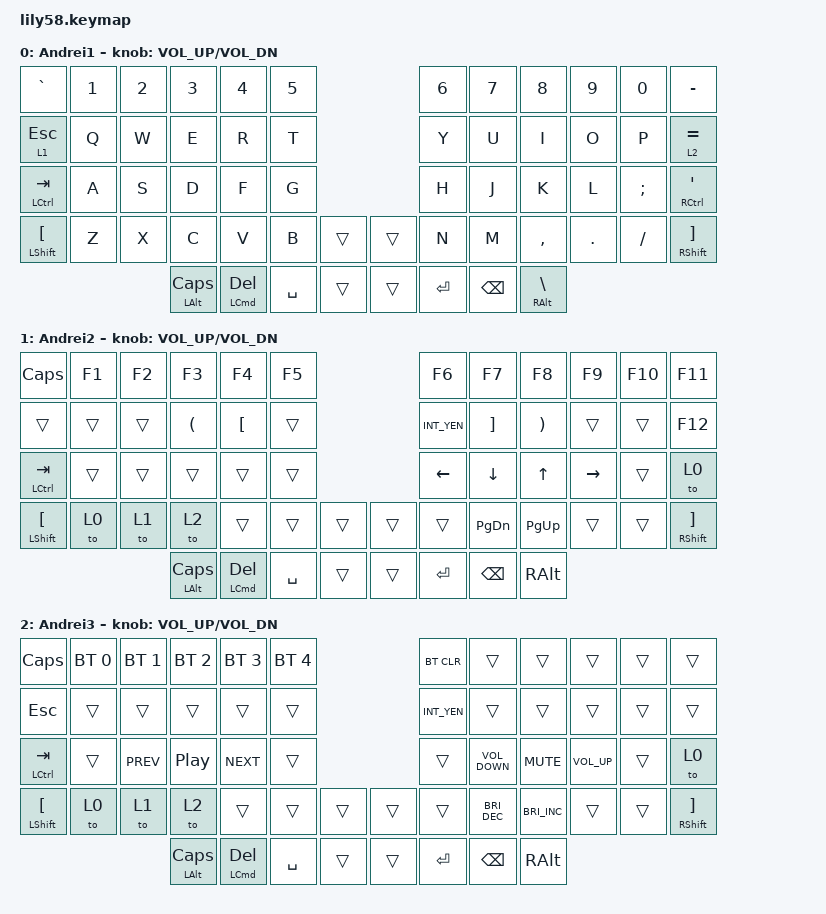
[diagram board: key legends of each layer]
/*
 * Copyright (c) 2020 The ZMK Contributors
 *
 * SPDX-License-Identifier: MIT
 */

#include <behaviors.dtsi>
#include <dt-bindings/zmk/bt.h>
#include <dt-bindings/zmk/keys.h>

/ {
    keymap {
        compatible = "zmk,keymap";

        Andrei1 {
            // ------------------------------------------------------------------------------------------------------------
            // |  ESC  |  1  |  2  |  3   |  4   |  5   |                   |  6   |  7    |  8    |  9   |   0   |   `   |
            // |  TAB  |  Q  |  W  |  E   |  R   |  T   |                   |  Y   |  U    |  I    |  O   |   P   |   -   |
            // |  CTRL |  A  |  S  |  D   |  F   |  G   |                   |  H   |  J    |  K    |  L   |   ;   |   '   |
            // | SHIFT |  Z  |  X  |  C   |  V   |  B   |   "["  |  |  "]"  |  N   |  M    |  ,    |  .   |   /   | SHIFT |
            //                     | ALT  | GUI  | LOWER|  SPACE |  | ENTER | RAISE| BSPC  | GUI   |

            bindings = <
&kp GRAVE                    &kp N1  &kp N2  &kp N3                 &kp N4                   &kp N5                       &kp N6     &kp N7         &kp N8                   &kp N9   &kp N0    &kp MINUS
&lt 1 ESCAPE                 &kp Q   &kp W   &kp E                  &kp R                    &kp T                        &kp Y      &kp U          &kp I                    &kp O    &kp P     &lt 2 EQUAL
&mt LCTRL TAB                &kp A   &kp S   &kp D                  &kp F                    &kp G                        &kp H      &kp J          &kp K                    &kp L    &kp SEMI  &mt RCTRL SQT
&mt LEFT_SHIFT LEFT_BRACKET  &kp Z   &kp X   &kp C                  &kp V                    &kp B      &trans    &trans  &kp N      &kp M          &kp COMMA                &kp DOT  &kp FSLH  &mt RSHIFT RIGHT_BRACKET
                                             &mt LEFT_ALT CAPSLOCK  &mt LEFT_COMMAND DELETE  &kp SPACE  &trans    &trans  &kp ENTER  &kp BACKSPACE  &mt RIGHT_ALT BACKSLASH
            >;

            sensor-bindings = <&inc_dec_kp C_VOL_UP C_VOL_DN>;
        };

        Andrei2 {
            // ------------------------------------------------------------------------------------------------------------
            // | BTCLR | BT1 | BT2 |  BT3 |  BT4 |  BT5 |                   |      |       |       |      |       |       |
            // |  F1   |  F2 |  F3 |  F4  |  F5  |  F6  |                   |  F7  |  F8   |  F9   |  F10 |  F11  |  F12  |
            // |   `   |  !  |  @  |  #   |  $   |  %   |                   |  ^   |  &    |  *    |  (   |   )   |   ~   |
            // |       |     |     |      |      |      |        |  |       |      |  _    |  +    |  {   |   }   |  "|"  |
            //                     |      |      |      |        |  |       |      |       |       |

            bindings = <
&kp CLCK                     &kp F1  &kp F2  &kp F3                 &kp F4                   &kp F5                       &kp F6       &kp F7             &kp F8                 &kp F9     &kp F10  &kp F11
&trans                       &trans  &trans  &kp LEFT_PARENTHESIS   &kp LEFT_BRACKET         &trans                       &kp INT_YEN  &kp RIGHT_BRACKET  &kp RIGHT_PARENTHESIS  &trans     &trans   &kp F12
&mt LCTRL TAB                &trans  &trans  &trans                 &trans                   &trans                       &kp LEFT     &kp DOWN           &kp UP_ARROW           &kp RIGHT  &trans   &to 0
&mt LEFT_SHIFT LEFT_BRACKET  &to 0   &to 1   &to 2                  &trans                   &trans     &trans    &trans  &trans       &kp PAGE_DOWN      &kp PAGE_UP            &trans     &trans   &mt RSHIFT RIGHT_BRACKET
                                             &mt LEFT_ALT CAPSLOCK  &mt LEFT_COMMAND DELETE  &kp SPACE  &trans    &trans  &kp ENTER    &kp BACKSPACE      &kp RIGHT_ALT
            >;

            sensor-bindings = <&inc_dec_kp C_VOL_UP C_VOL_DN>;
        };

        Andrei3 {
            // ------------------------------------------------------------------------------------------------------------
            // | BTCLR | BT1 | BT2 |  BT3 |  BT4 |  BT5 |                   |      |       |       |      |       |       |
            // |  F1   |  F2 |  F3 |  F4  |  F5  |  F6  |                   |  F7  |  F8   |  F9   |  F10 |  F11  |  F12  |
            // |   `   |  !  |  @  |  #   |  $   |  %   |                   |  ^   |  &    |  *    |  (   |   )   |   ~   |
            // |       |     |     |      |      |      |        |  |       |      |  _    |  +    |  {   |   }   |  "|"  |
            //                     |      |      |      |        |  |       |      |       |       |

            bindings = <
&kp CLCK                     &bt BT_SEL 0  &bt BT_SEL 1  &bt BT_SEL 2           &bt BT_SEL 3             &bt BT_SEL 4                    &bt BT_CLR   &trans                &trans                &trans           &trans  &trans
&kp ESCAPE                   &trans        &trans        &trans                 &trans                   &trans                          &kp INT_YEN  &trans                &trans                &trans           &trans  &trans
&mt LCTRL TAB                &trans        &kp C_PREV    &kp C_PLAY_PAUSE       &kp C_NEXT               &trans                          &trans       &kp C_VOLUME_DOWN     &kp C_MUTE            &kp C_VOLUME_UP  &trans  &to 0
&mt LEFT_SHIFT LEFT_BRACKET  &to 0   &to 1   &to 2                 &trans                   &trans        &trans    &trans  &trans       &kp C_BRIGHTNESS_DEC  &kp C_BRIGHTNESS_INC  &trans           &trans  &mt RSHIFT RIGHT_BRACKET
                                                         &mt LEFT_ALT CAPSLOCK  &mt LEFT_COMMAND DELETE  &kp SPACE     &trans    &trans  &kp ENTER    &kp BACKSPACE         &kp RIGHT_ALT
            >;

            sensor-bindings = <&inc_dec_kp C_VOL_UP C_VOL_DN>;
        };
    };
};
